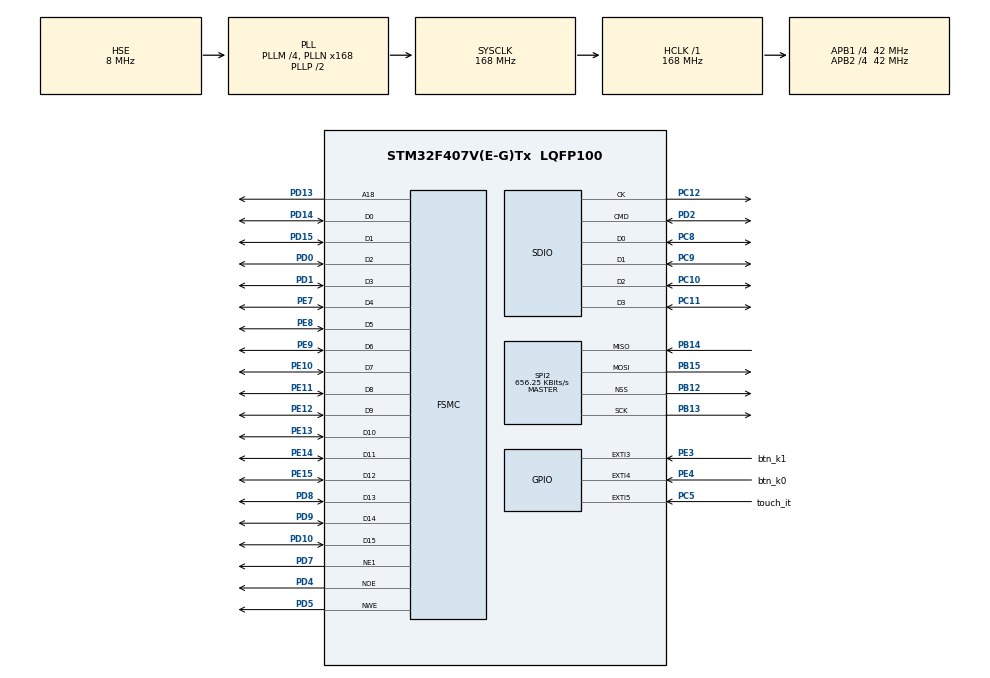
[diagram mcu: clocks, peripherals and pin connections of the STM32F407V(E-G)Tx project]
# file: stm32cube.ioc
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ARM.CMSIS.5.6.0.CMSISJjDSP=Library
Dma.Request0=SDIO_RX
Dma.Request1=SDIO_TX
Dma.SDIO_RX.0.Direction=DMA_PERIPH_TO_MEMORY
Dma.SDIO_RX.0.FIFOMode=DMA_FIFOMODE_ENABLE
Dma.SDIO_RX.0.FIFOThreshold=DMA_FIFO_THRESHOLD_FULL
Dma.SDIO_RX.0.Instance=DMA2_Stream3
Dma.SDIO_RX.0.MemBurst=DMA_MBURST_INC4
Dma.SDIO_RX.0.MemDataAlignment=DMA_MDATAALIGN_WORD
Dma.SDIO_RX.0.MemInc=DMA_MINC_ENABLE
Dma.SDIO_RX.0.Mode=DMA_PFCTRL
Dma.SDIO_RX.0.PeriphBurst=DMA_PBURST_INC4
Dma.SDIO_RX.0.PeriphDataAlignment=DMA_PDATAALIGN_WORD
Dma.SDIO_RX.0.PeriphInc=DMA_PINC_DISABLE
Dma.SDIO_RX.0.Priority=DMA_PRIORITY_LOW
Dma.SDIO_TX.1.Direction=DMA_MEMORY_TO_PERIPH
Dma.SDIO_TX.1.FIFOMode=DMA_FIFOMODE_ENABLE
Dma.SDIO_TX.1.FIFOThreshold=DMA_FIFO_THRESHOLD_FULL
Dma.SDIO_TX.1.Instance=DMA2_Stream6
Dma.SDIO_TX.1.MemBurst=DMA_MBURST_INC4
Dma.SDIO_TX.1.MemDataAlignment=DMA_MDATAALIGN_WORD
Dma.SDIO_TX.1.MemInc=DMA_MINC_ENABLE
Dma.SDIO_TX.1.Mode=DMA_PFCTRL
Dma.SDIO_TX.1.PeriphBurst=DMA_PBURST_INC4
Dma.SDIO_TX.1.PeriphDataAlignment=DMA_PDATAALIGN_WORD
Dma.SDIO_TX.1.PeriphInc=DMA_PINC_DISABLE
Dma.SDIO_TX.1.Priority=DMA_PRIORITY_LOW
FATFS.USE_DMA_CODE_SD=1
FATFS._USE_STRFUNC=1
FSMC.AddressSetupTime1=6
FSMC.BusTurnAroundDuration1=0
FSMC.DataSetupTime1=6
Mcu.Family=STM32F4
Mcu.Name=STM32F407V(E-G)Tx
Mcu.Package=LQFP100
NVIC.DMA2_Stream3_IRQn=true\:0\:0\:false\:false\:true\:false\:true
NVIC.DMA2_Stream6_IRQn=true\:0\:0\:false\:false\:true\:false\:true
NVIC.EXTI3_IRQn=true\:0\:0\:false\:false\:true\:true\:true
NVIC.EXTI4_IRQn=true\:0\:0\:false\:false\:true\:true\:true
NVIC.EXTI9_5_IRQn=true\:0\:0\:false\:false\:true\:true\:true
NVIC.PriorityGroup=NVIC_PRIORITYGROUP_4
NVIC.SDIO_IRQn=true\:0\:0\:false\:false\:true\:true\:true
NVIC.SPI2_IRQn=true\:0\:0\:false\:false\:true\:true\:true
PB12.Mode=NSS_Signal_Hard_Output
PB12.Signal=SPI2_NSS
PB13.Mode=Full_Duplex_Master
PB13.Signal=SPI2_SCK
PB14.Mode=Full_Duplex_Master
PB14.Signal=SPI2_MISO
PB15.Mode=Full_Duplex_Master
PB15.Signal=SPI2_MOSI
PC10.GPIO_Mode=GPIO_MODE_AF_PP
PC10.GPIO_PuPd=GPIO_NOPULL
PC10.GPIO_Speed_High_Default=GPIO_SPEED_FREQ_VERY_HIGH
PC10.Mode=SD_4_bits_Wide_bus
PC10.Signal=SDIO_D2
PC11.GPIO_Mode=GPIO_MODE_AF_PP
PC11.GPIO_PuPd=GPIO_NOPULL
PC11.GPIO_Speed_High_Default=GPIO_SPEED_FREQ_VERY_HIGH
PC11.Mode=SD_4_bits_Wide_bus
PC11.Signal=SDIO_D3
PC12.GPIO_Mode=GPIO_MODE_AF_PP
PC12.GPIO_PuPd=GPIO_NOPULL
PC12.GPIO_Speed_High_Default=GPIO_SPEED_FREQ_VERY_HIGH
PC12.Mode=SD_4_bits_Wide_bus
PC12.Signal=SDIO_CK
PC5.GPIO_Label=touch_it
PC5.GPIO_ModeDefaultEXTI=GPIO_MODE_IT_FALLING
PC5.GPIO_PuPd=GPIO_PULLUP
PC5.Signal=GPXTI5
PC8.GPIO_Mode=GPIO_MODE_AF_PP
PC8.GPIO_PuPd=GPIO_NOPULL
PC8.GPIO_Speed_High_Default=GPIO_SPEED_FREQ_VERY_HIGH
PC8.Mode=SD_4_bits_Wide_bus
PC8.Signal=SDIO_D0
PC9.GPIO_Mode=GPIO_MODE_AF_PP
PC9.GPIO_PuPd=GPIO_NOPULL
PC9.GPIO_Speed_High_Default=GPIO_SPEED_FREQ_VERY_HIGH
PC9.Mode=SD_4_bits_Wide_bus
PC9.Signal=SDIO_D1
PD0.Mode=16b-d1
PD0.Signal=FSMC_D2
PD1.Mode=16b-d1
PD1.Signal=FSMC_D3
PD10.Mode=16b-d1
PD10.Signal=FSMC_D15
PD13.Mode=A18_1
PD13.Signal=FSMC_A18
PD14.Mode=16b-d1
PD14.Signal=FSMC_D0
PD15.Mode=16b-d1
PD15.Signal=FSMC_D1
PD2.GPIO_Mode=GPIO_MODE_AF_PP
PD2.GPIO_PuPd=GPIO_NOPULL
PD2.GPIO_Speed_High_Default=GPIO_SPEED_FREQ_VERY_HIGH
PD2.Mode=SD_4_bits_Wide_bus
PD2.Signal=SDIO_CMD
PD4.Mode=Lcd1
PD4.Signal=FSMC_NOE
PD5.Mode=Lcd1
PD5.Signal=FSMC_NWE
PD7.Mode=NorPsramChipSelect1_1
PD7.Signal=FSMC_NE1
PD8.Mode=16b-d1
PD8.Signal=FSMC_D13
PD9.Mode=16b-d1
PD9.Signal=FSMC_D14
PE10.Mode=16b-d1
PE10.Signal=FSMC_D7
PE11.Mode=16b-d1
PE11.Signal=FSMC_D8
PE12.Mode=16b-d1
PE12.Signal=FSMC_D9
PE13.Mode=16b-d1
PE13.Signal=FSMC_D10
PE14.Mode=16b-d1
PE14.Signal=FSMC_D11
PE15.Mode=16b-d1
PE15.Signal=FSMC_D12
PE3.GPIO_Label=btn_k1
PE3.GPIO_ModeDefaultEXTI=GPIO_MODE_IT_FALLING
PE3.GPIO_PuPd=GPIO_PULLUP
PE3.Signal=GPXTI3
PE4.GPIO_Label=btn_k0
PE4.GPIO_ModeDefaultEXTI=GPIO_MODE_IT_FALLING
PE4.GPIO_PuPd=GPIO_PULLUP
PE4.Signal=GPXTI4
PE7.Mode=16b-d1
PE7.Signal=FSMC_D4
PE8.Mode=16b-d1
PE8.Signal=FSMC_D5
PE9.Mode=16b-d1
PE9.Signal=FSMC_D6
PH0-OSC_IN.Mode=HSE-External-Oscillator
PH0-OSC_IN.Signal=RCC_OSC_IN
PH1-OSC_OUT.Mode=HSE-External-Oscillator
PH1-OSC_OUT.Signal=RCC_OSC_OUT
ProjectManager.HeapSize=0x200
ProjectManager.StackSize=0x400
ProjectManager.TargetToolchain=STM32CubeIDE
RCC.48MHZClocksFreq_Value=48000000
RCC.AHBFreq_Value=168000000
RCC.APB1CLKDivider=RCC_HCLK_DIV4
RCC.APB1Freq_Value=42000000
RCC.APB1TimFreq_Value=84000000
RCC.APB2CLKDivider=RCC_HCLK_DIV4
RCC.APB2Freq_Value=42000000
RCC.APB2TimFreq_Value=84000000
RCC.CortexFreq_Value=168000000
RCC.HCLKFreq_Value=168000000
RCC.HSE_VALUE=8000000
RCC.HSI_VALUE=16000000
RCC.LSE_VALUE=32768
RCC.PLLM=4
RCC.PLLN=168
RCC.PLLQ=7
RCC.PLLSourceVirtual=RCC_PLLSOURCE_HSE
RCC.SYSCLKFreq_VALUE=168000000
RCC.SYSCLKSource=RCC_SYSCLKSOURCE_PLLCLK
RCC.VCOOutputFreq_Value=336000000
SPI2.BaudRatePrescaler=SPI_BAUDRATEPRESCALER_64
SPI2.CLKPhase=SPI_PHASE_1EDGE
SPI2.CLKPolarity=SPI_POLARITY_LOW
SPI2.CalculateBaudRate=656.25 KBits/s
SPI2.DataSize=SPI_DATASIZE_8BIT
SPI2.Direction=SPI_DIRECTION_2LINES
SPI2.Mode=SPI_MODE_MASTER
SPI2.TIMode=SPI_TIMODE_DISABLE
SPI2.VirtualNSS=VM_NSSHARD
SPI2.VirtualType=VM_MASTER
VP_ARM.CMSIS_VS_CMSISJjDSP_1.7.0_5.6.0.Mode=CMSISJjDSP
VP_FATFS_VS_SDIO.Mode=SDIO
board=custom

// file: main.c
/* USER CODE BEGIN Header */
/**
  ******************************************************************************
  * @file           : main.c
  * @brief          : Main program body
  ******************************************************************************
  * @attention
  *
  * <h2><center>&copy; Copyright (c) 2021 STMicroelectronics.
  * All rights reserved.</center></h2>
  *
  * This software component is licensed by ST under Ultimate Liberty license
  * SLA0044, the "License"; You may not use this file except in compliance with
  * the License. You may obtain a copy of the License at:
  *                             www.st.com/SLA0044
  *
  ******************************************************************************
  */
/* USER CODE END Header */
#include "main.h"
#include "fatfs.h"

/* USER CODE BEGIN Includes */
#include <FSMC_ILI9341.h>
#include <bitmap.h>
#include <bitmap_truetype.h>
#include <touch_2046.h>
#include <stm32uikit.h>

/* USER CODE END Includes */

/* USER CODE BEGIN PD */
#define TERMINAL_LINE_MAX 30
#define COLOR_BACKGROUND 0x00

#define XPT2046_MIN_RAW_X 230
#define XPT2046_MAX_RAW_X 3900
#define XPT2046_MIN_RAW_Y 290
#define XPT2046_MAX_RAW_Y 3870
/* USER CODE END PD */

SD_HandleTypeDef hsd;
DMA_HandleTypeDef hdma_sdio_rx;
DMA_HandleTypeDef hdma_sdio_tx;

SPI_HandleTypeDef hspi2;

SRAM_HandleTypeDef hsram1;

/* USER CODE BEGIN PV */
uint8_t frameBuffer[ILI9341_PIXEL_COUNT] = {0};

uint8_t touch_it = 0;
/* USER CODE END PV */

void SystemClock_Config(void);
static void MX_GPIO_Init(void);
static void MX_FSMC_Init(void);
static void MX_SDIO_SD_Init(void);
static void MX_SPI2_Init(void);
static void MX_DMA_Init(void);

/* USER CODE BEGIN 0 */
void HAL_GPIO_EXTI_Callback(uint16_t GPIO_Pin) {
	switch (GPIO_Pin) {
	case GPIO_PIN_5:
		touch_it++;
		break;
	}
}
/* USER CODE END 0 */

int main(void)
{

  /* MCU Configuration--------------------------------------------------------*/

  /* Reset of all peripherals, Initializes the Flash interface and the Systick. */
  HAL_Init();

  /* Configure the system clock */
  SystemClock_Config();

  /* Initialize all configured peripherals */
  MX_GPIO_Init();
  MX_FSMC_Init();
  MX_SDIO_SD_Init();
  MX_SPI2_Init();
  MX_DMA_Init();
  MX_FATFS_Init();
  /* USER CODE BEGIN 2 */

  // Touch init
  Coordinate_t touch_s3uikit;
	Touch_calib_t touch_cal;
	touch_cal.minX = XPT2046_MIN_RAW_X;
	touch_cal.minY = XPT2046_MIN_RAW_Y;
	touch_cal.maxX = XPT2046_MAX_RAW_X;
	touch_cal.maxY = XPT2046_MAX_RAW_Y;

  // LCD init
	ILI9341_init();
	ILI9341_setRotation(1);

	//----------bitmap init
	char string[30];
	bitmap_setparam(ILI9341_WIDTH, ILI9341_HEIGHT, COLOR_BACKGROUND, frameBuffer);
	bitmap_clear();

	//----------read SD file
	//SD FatFs init
	if(f_mount(&bitmap_truetype_fs.FatFs, "", 1) != FR_OK){
		while(1);
	}
	int total_sect = (bitmap_truetype_fs.FatFs.n_fatent - 2) * bitmap_truetype_fs.FatFs.csize / 2048;
	sprintf(string, " ->Total: %dMB", total_sect);

	bitmap_terminal("SD Mount: Successfully", 0, 0xff, TERMINAL_LINE_MAX);
	bitmap_terminal(string, 0, 0xff, TERMINAL_LINE_MAX);
	ILI9341_printBitmap(frameBuffer);

	//alex.ttf
	//hirag.ttf
	if(f_open(&bitmap_truetype_fs.File, "/fonts/hirag.ttf", FA_OPEN_EXISTING | FA_READ) != FR_OK){
		while(1);
	}
	bitmap_terminal("File open: Successfully", 0, 0xff, TERMINAL_LINE_MAX);
	ILI9341_printBitmap(frameBuffer);
	HAL_Delay(1000);

	//----------Truetype init
	uint8_t res = truetype_setTtfFile(0);
	sprintf(string, "setTtfFile: %d", res);
	bitmap_terminal(string, 0, 0xff, TERMINAL_LINE_MAX);
	ILI9341_printBitmap(frameBuffer);

	truetype_setCharacterSize(40);
	truetype_setCharacterSpacing(0, 1);
	truetype_setTextBoundary(0, 280, 320);
	truetype_setTextColor(0xff, 0xff, 1);
	truetype_setTextRotation(0);

	//color test
	for (uint16_t i = 0; i < 256; i++) {
		bitmap_fillrect(15 * (i % 16), ((uint16_t) (i / 16) * 15), 15 * (i % 16) + 14, ((uint16_t) (i / 16) * 15) + 14, i);
	}
	truetype_textDraw(20, 260, "STM32 UIKit");
	//truetype_textDraw(10, 240, "QuickBrownFox");
	//truetype_textDrawL(10, 280, L"ABCあいう");
	//bitmap_stringBitmap(72, 260, "8bit", 3, 1, 0xff);

	ILI9341_printBitmap(frameBuffer);
	bitmap_clear();
	HAL_Delay(2000);

  /* USER CODE END 2 */

  /* Infinite loop */
  /* USER CODE BEGIN WHILE */
	uint16_t slide_val = 100;

	uint8_t switch_val1 = 0;
	uint8_t button_val1 = 0;
	uint8_t button_val2 = 0;
	int16_t button_conter1 = 0;
	int16_t button_conter2 = 0;

	while (1) {
		touch_s3uikit = xpt2046_read(&hspi2, touch_cal);
		if(touch_s3uikit.z < 100){
			touch_s3uikit.x = 0;
			touch_s3uikit.y = 0;
			touch_s3uikit.z = 0;
		}

		//bar
		bitmap_stringBitmap(10, 10, "x", 1, 1, 0xff);
		bitmap_stringBitmap(10, 20, "y", 1, 1, 0xff);
		stm32uikit_roundProgress(20, 10, 210, 1000 * touch_s3uikit.x / 240);
		stm32uikit_rectProgress(20, 20, 210, 1000 * touch_s3uikit.y / 320);

		//slide bar
		stm32uikit_sllideBar(touch_s3uikit, 10, 70, 190, &slide_val);
		sprintf(string, "%4d", slide_val);
		bitmap_stringBitmap(205, 70, string, 1, 1, 0xff);

		//switch
		stm32uikit_switch(touch_s3uikit, 180, 250, &switch_val1);

		//button
		stm32uikit_roundButton(touch_s3uikit, 10, 280, 105, &button_val1);
		if(button_val1 == 2){
			if(switch_val1){
				button_conter1++;
			}else{
				button_conter1--;
			}
		}
		sprintf(string, "%5d", button_conter1);
		bitmap_stringBitmap(15, 288, string, 2, 1, 0xff);
		stm32uikit_roundButton(touch_s3uikit, 120, 280, 105, &button_val2);
		if(button_val2 == 2){
			if(switch_val1){
				button_conter2++;
			}else{
				button_conter2--;
			}
		}
		sprintf(string, "%5d", button_conter2);
		bitmap_stringBitmap(135, 288, string, 2, 1, 0xff);

		/*
		//Truetype countup test
		for(uint8_t i = 1; i <= 100; i++){
			sprintf(string, "%03d", i);
			truetype_textDraw(80, 5, string);

			bitmap_roundrect(10, 50, 230, 60, 5, 1, 0b1001010);
			bitmap_fillroundrect(11, 51, 229, 59, 4, 0b0100101);
			bitmap_fillroundrect(11, 51, (19 + ((229 - 19) * i / 100)), 59, 4, 0b0000111);

		}
		*/

    /* USER CODE END WHILE */

    /* USER CODE BEGIN 3 */
		ILI9341_printBitmap(frameBuffer);
		bitmap_clear();
		//HAL_Delay(10);
	}
  /* USER CODE END 3 */
}

void SystemClock_Config(void)
{
  RCC_OscInitTypeDef RCC_OscInitStruct = {0};
  RCC_ClkInitTypeDef RCC_ClkInitStruct = {0};

  /** Configure the main internal regulator output voltage
  */
  __HAL_RCC_PWR_CLK_ENABLE();
  __HAL_PWR_VOLTAGESCALING_CONFIG(PWR_REGULATOR_VOLTAGE_SCALE1);
  /** Initializes the RCC Oscillators according to the specified parameters
  * in the RCC_OscInitTypeDef structure.
  */
  RCC_OscInitStruct.OscillatorType = RCC_OSCILLATORTYPE_HSE;
  RCC_OscInitStruct.HSEState = RCC_HSE_ON;
  RCC_OscInitStruct.PLL.PLLState = RCC_PLL_ON;
  RCC_OscInitStruct.PLL.PLLSource = RCC_PLLSOURCE_HSE;
  RCC_OscInitStruct.PLL.PLLM = 4;
  RCC_OscInitStruct.PLL.PLLN = 168;
  RCC_OscInitStruct.PLL.PLLP = RCC_PLLP_DIV2;
  RCC_OscInitStruct.PLL.PLLQ = 7;
  if (HAL_RCC_OscConfig(&RCC_OscInitStruct) != HAL_OK)
  {
    Error_Handler();
  }
  /** Initializes the CPU, AHB and APB buses clocks
  */
  RCC_ClkInitStruct.ClockType = RCC_CLOCKTYPE_HCLK|RCC_CLOCKTYPE_SYSCLK
                              |RCC_CLOCKTYPE_PCLK1|RCC_CLOCKTYPE_PCLK2;
  RCC_ClkInitStruct.SYSCLKSource = RCC_SYSCLKSOURCE_PLLCLK;
  RCC_ClkInitStruct.AHBCLKDivider = RCC_SYSCLK_DIV1;
  RCC_ClkInitStruct.APB1CLKDivider = RCC_HCLK_DIV4;
  RCC_ClkInitStruct.APB2CLKDivider = RCC_HCLK_DIV4;

  if (HAL_RCC_ClockConfig(&RCC_ClkInitStruct, FLASH_LATENCY_5) != HAL_OK)
  {
    Error_Handler();
  }
}

static void MX_SDIO_SD_Init(void)
{

  hsd.Instance = SDIO;
  hsd.Init.ClockEdge = SDIO_CLOCK_EDGE_RISING;
  hsd.Init.ClockBypass = SDIO_CLOCK_BYPASS_DISABLE;
  hsd.Init.ClockPowerSave = SDIO_CLOCK_POWER_SAVE_DISABLE;
  hsd.Init.BusWide = SDIO_BUS_WIDE_1B;
  hsd.Init.HardwareFlowControl = SDIO_HARDWARE_FLOW_CONTROL_DISABLE;
  hsd.Init.ClockDiv = 0;

}

static void MX_SPI2_Init(void)
{

  /* SPI2 parameter configuration*/
  hspi2.Instance = SPI2;
  hspi2.Init.Mode = SPI_MODE_MASTER;
  hspi2.Init.Direction = SPI_DIRECTION_2LINES;
  hspi2.Init.DataSize = SPI_DATASIZE_8BIT;
  hspi2.Init.CLKPolarity = SPI_POLARITY_LOW;
  hspi2.Init.CLKPhase = SPI_PHASE_1EDGE;
  hspi2.Init.NSS = SPI_NSS_HARD_OUTPUT;
  hspi2.Init.BaudRatePrescaler = SPI_BAUDRATEPRESCALER_64;
  hspi2.Init.FirstBit = SPI_FIRSTBIT_MSB;
  hspi2.Init.TIMode = SPI_TIMODE_DISABLE;
  hspi2.Init.CRCCalculation = SPI_CRCCALCULATION_DISABLE;
  hspi2.Init.CRCPolynomial = 10;
  if (HAL_SPI_Init(&hspi2) != HAL_OK)
  {
    Error_Handler();
  }

}

static void MX_DMA_Init(void)
{

  /* DMA controller clock enable */
  __HAL_RCC_DMA2_CLK_ENABLE();

  /* DMA interrupt init */
  /* DMA2_Stream3_IRQn interrupt configuration */
  HAL_NVIC_SetPriority(DMA2_Stream3_IRQn, 0, 0);
  HAL_NVIC_EnableIRQ(DMA2_Stream3_IRQn);
  /* DMA2_Stream6_IRQn interrupt configuration */
  HAL_NVIC_SetPriority(DMA2_Stream6_IRQn, 0, 0);
  HAL_NVIC_EnableIRQ(DMA2_Stream6_IRQn);

}

static void MX_GPIO_Init(void)
{
  GPIO_InitTypeDef GPIO_InitStruct = {0};

  /* GPIO Ports Clock Enable */
  __HAL_RCC_GPIOE_CLK_ENABLE();
  __HAL_RCC_GPIOH_CLK_ENABLE();
  __HAL_RCC_GPIOC_CLK_ENABLE();
  __HAL_RCC_GPIOB_CLK_ENABLE();
  __HAL_RCC_GPIOD_CLK_ENABLE();

  /*Configure GPIO pins : btn_k1_Pin btn_k0_Pin */
  GPIO_InitStruct.Pin = btn_k1_Pin|btn_k0_Pin;
  GPIO_InitStruct.Mode = GPIO_MODE_IT_FALLING;
  GPIO_InitStruct.Pull = GPIO_PULLUP;
  HAL_GPIO_Init(GPIOE, &GPIO_InitStruct);

  /*Configure GPIO pin : touch_it_Pin */
  GPIO_InitStruct.Pin = touch_it_Pin;
  GPIO_InitStruct.Mode = GPIO_MODE_IT_FALLING;
  GPIO_InitStruct.Pull = GPIO_PULLUP;
  HAL_GPIO_Init(touch_it_GPIO_Port, &GPIO_InitStruct);

  /* EXTI interrupt init*/
  HAL_NVIC_SetPriority(EXTI3_IRQn, 0, 0);
  HAL_NVIC_EnableIRQ(EXTI3_IRQn);

  HAL_NVIC_SetPriority(EXTI4_IRQn, 0, 0);
  HAL_NVIC_EnableIRQ(EXTI4_IRQn);

  HAL_NVIC_SetPriority(EXTI9_5_IRQn, 0, 0);
  HAL_NVIC_EnableIRQ(EXTI9_5_IRQn);

}

/* FSMC initialization function */
static void MX_FSMC_Init(void)
{

  FSMC_NORSRAM_TimingTypeDef Timing = {0};

  /** Perform the SRAM1 memory initialization sequence
  */
  hsram1.Instance = FSMC_NORSRAM_DEVICE;
  hsram1.Extended = FSMC_NORSRAM_EXTENDED_DEVICE;
  /* hsram1.Init */
  hsram1.Init.NSBank = FSMC_NORSRAM_BANK1;
  hsram1.Init.DataAddressMux = FSMC_DATA_ADDRESS_MUX_DISABLE;
  hsram1.Init.MemoryType = FSMC_MEMORY_TYPE_SRAM;
  hsram1.Init.MemoryDataWidth = FSMC_NORSRAM_MEM_BUS_WIDTH_16;
  hsram1.Init.BurstAccessMode = FSMC_BURST_ACCESS_MODE_DISABLE;
  hsram1.Init.WaitSignalPolarity = FSMC_WAIT_SIGNAL_POLARITY_LOW;
  hsram1.Init.WrapMode = FSMC_WRAP_MODE_DISABLE;
  hsram1.Init.WaitSignalActive = FSMC_WAIT_TIMING_BEFORE_WS;
  hsram1.Init.WriteOperation = FSMC_WRITE_OPERATION_ENABLE;
  hsram1.Init.WaitSignal = FSMC_WAIT_SIGNAL_DISABLE;
  hsram1.Init.ExtendedMode = FSMC_EXTENDED_MODE_DISABLE;
  hsram1.Init.AsynchronousWait = FSMC_ASYNCHRONOUS_WAIT_DISABLE;
  hsram1.Init.WriteBurst = FSMC_WRITE_BURST_DISABLE;
  hsram1.Init.PageSize = FSMC_PAGE_SIZE_NONE;
  /* Timing */
  Timing.AddressSetupTime = 6;
  Timing.AddressHoldTime = 15;
  Timing.DataSetupTime = 6;
  Timing.BusTurnAroundDuration = 0;
  Timing.CLKDivision = 16;
  Timing.DataLatency = 17;
  Timing.AccessMode = FSMC_ACCESS_MODE_A;
  /* ExtTiming */

  if (HAL_SRAM_Init(&hsram1, &Timing, NULL) != HAL_OK)
  {
    Error_Handler( );
  }

}

void Error_Handler(void)
{
  __disable_irq();
  while (1)
  {
  }
}
